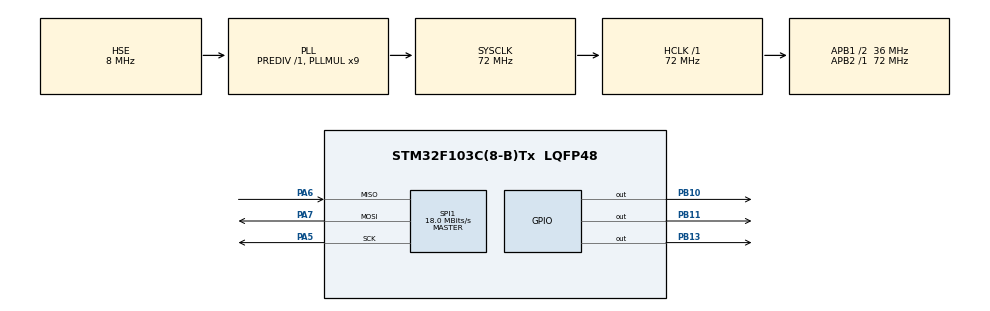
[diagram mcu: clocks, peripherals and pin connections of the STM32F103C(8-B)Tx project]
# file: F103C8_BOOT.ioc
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FATFS._CODE_PAGE=437
FATFS._FS_TINY=1
FATFS._MAX_SS=4096
FATFS._MIN_SS=512
FATFS._USE_FASTSEEK=0
FATFS._USE_FIND=1
FATFS._USE_LFN=2
FATFS._USE_MKFS=1
FATFS._USE_STRFUNC=0
Mcu.Family=STM32F1
Mcu.Name=STM32F103C(8-B)Tx
Mcu.Package=LQFP48
NVIC.PriorityGroup=NVIC_PRIORITYGROUP_4
PA13.Mode=Serial_Wire
PA13.Signal=SYS_JTMS-SWDIO
PA14.Mode=Serial_Wire
PA14.Signal=SYS_JTCK-SWCLK
PA5.Mode=Full_Duplex_Master
PA5.Signal=SPI1_SCK
PA6.Mode=Full_Duplex_Master
PA6.Signal=SPI1_MISO
PA7.Mode=Full_Duplex_Master
PA7.Signal=SPI1_MOSI
PB10.Signal=GPIO_Output
PB11.PinState=GPIO_PIN_SET
PB11.Signal=GPIO_Output
PB13.PinState=GPIO_PIN_SET
PB13.Signal=GPIO_Output
PD0-OSC_IN.Mode=HSE-External-Oscillator
PD0-OSC_IN.Signal=RCC_OSC_IN
PD1-OSC_OUT.Mode=HSE-External-Oscillator
PD1-OSC_OUT.Signal=RCC_OSC_OUT
ProjectManager.HeapSize=0x200
ProjectManager.StackSize=0x1000
ProjectManager.TargetToolchain=MDK-ARM V5
RCC.AHBFreq_Value=72000000
RCC.APB1CLKDivider=RCC_HCLK_DIV2
RCC.APB1Freq_Value=36000000
RCC.APB1TimFreq_Value=72000000
RCC.APB2Freq_Value=72000000
RCC.APB2TimFreq_Value=72000000
RCC.HCLKFreq_Value=72000000
RCC.PLLMUL=RCC_PLL_MUL9
RCC.PLLSourceVirtual=RCC_PLLSOURCE_HSE
RCC.SYSCLKFreq_VALUE=72000000
RCC.SYSCLKSource=RCC_SYSCLKSOURCE_PLLCLK
RCC.USBFreq_Value=72000000
SPI1.BaudRatePrescaler=SPI_BAUDRATEPRESCALER_4
SPI1.CalculateBaudRate=18.0 MBits/s
SPI1.Direction=SPI_DIRECTION_2LINES
SPI1.Mode=SPI_MODE_MASTER
SPI1.VirtualType=VM_MASTER
TIM4.Period=65535
TIM4.Prescaler=71
VP_FATFS_VS_Generic.Mode=User_defined
VP_TIM4_VS_ClockSourceINT.Mode=Internal
board=custom

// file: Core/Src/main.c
/**
  ******************************************************************************
  * @file           : main.c
  * @brief          : Main program body
  ******************************************************************************
  * This notice applies to any and all portions of this file
  * that are not between comment pairs USER CODE BEGIN and
  * USER CODE END. Other portions of this file, whether
  * inserted by the user or by software development tools
  * are owned by their respective copyright owners.
  *
  * Copyright (c) 2019 STMicroelectronics International N.V.
  * All rights reserved.
  *
  * Redistribution and use in source and binary forms, with or without
  * modification, are permitted, provided that the following conditions are met:
  *
  * 1. Redistribution of source code must retain the above copyright notice,
  *    this list of conditions and the following disclaimer.
  * 2. Redistributions in binary form must reproduce the above copyright notice,
  *    this list of conditions and the following disclaimer in the documentation
  *    and/or other materials provided with the distribution.
  * 3. Neither the name of STMicroelectronics nor the names of other
  *    contributors to this software may be used to endorse or promote products
  *    derived from this software without specific written permission.
  * 4. This software, including modifications and/or derivative works of this
  *    software, must execute solely and exclusively on microcontroller or
  *    microprocessor devices manufactured by or for STMicroelectronics.
  * 5. Redistribution and use of this software other than as permitted under
  *    this license is void and will automatically terminate your rights under
  *    this license.
  *
  * THIS SOFTWARE IS PROVIDED BY STMICROELECTRONICS AND CONTRIBUTORS "AS IS"
  * AND ANY EXPRESS, IMPLIED OR STATUTORY WARRANTIES, INCLUDING, BUT NOT
  * LIMITED TO, THE IMPLIED WARRANTIES OF MERCHANTABILITY, FITNESS FOR A
  * PARTICULAR PURPOSE AND NON-INFRINGEMENT OF THIRD PARTY INTELLECTUAL PROPERTY
  * RIGHTS ARE DISCLAIMED TO THE FULLEST EXTENT PERMITTED BY LAW. IN NO EVENT
  * SHALL STMICROELECTRONICS OR CONTRIBUTORS BE LIABLE FOR ANY DIRECT, INDIRECT,
  * INCIDENTAL, SPECIAL, EXEMPLARY, OR CONSEQUENTIAL DAMAGES (INCLUDING, BUT NOT
  * LIMITED TO, PROCUREMENT OF SUBSTITUTE GOODS OR SERVICES; LOSS OF USE, DATA,
  * OR PROFITS; OR BUSINESS INTERRUPTION) HOWEVER CAUSED AND ON ANY THEORY OF
  * LIABILITY, WHETHER IN CONTRACT, STRICT LIABILITY, OR TORT (INCLUDING
  * NEGLIGENCE OR OTHERWISE) ARISING IN ANY WAY OUT OF THE USE OF THIS SOFTWARE,
  * EVEN IF ADVISED OF THE POSSIBILITY OF SUCH DAMAGE.
  *
  ******************************************************************************
  */
#include "main.h"
#include "stm32f1xx_hal.h"
#include "fatfs.h"
#include "spi.h"
#include "tim.h"
#include "gpio.h"

/* USER CODE BEGIN Includes */
#include <stdio.h>
#include "bsp_norflash.h"
#include "rtd266x_main.h"
/* USER CODE END Includes */

/* USER CODE BEGIN PV */
/* Private variables ---------------------------------------------------------*/

/* USER CODE END PV */

void SystemClock_Config(void);

/* USER CODE BEGIN PFP */
/* Private function prototypes -----------------------------------------------*/

/* USER CODE END PFP */

/* USER CODE BEGIN 0 */
static void FPGA_Download(void);
static void RTD266X_Download(void);
static void JumpToApplication(void);
/* USER CODE END 0 */

int main(void)
{
  /* USER CODE BEGIN 1 */
  NORFLASH_OBJ *norflash = BSP_NORFLASH_OBJ();
  /* USER CODE END 1 */

  /* MCU Configuration----------------------------------------------------------*/

  /* Reset of all peripherals, Initializes the Flash interface and the Systick. */
  HAL_Init();

  /* Configure the system clock */
  SystemClock_Config();

  /* Initialize all configured peripherals */
  MX_GPIO_Init();
  MX_SPI1_Init();
  MX_FATFS_Init();
  MX_TIM4_Init();
  /* USER CODE BEGIN 2 */
  HAL_TIM_Base_Start(&htim4);
  __HAL_SPI_ENABLE(&hspi1);
  norflash->Init();
  retUSER = f_mount(&USERFatFS, USERPath, 1);
  if (retUSER != FR_OK)
      retUSER = f_mkfs(USERPath, 0, 4096);
  /* USER CODE END 2 */

  /* Infinite loop */
  /* USER CODE BEGIN WHILE */
  while (1)
  {
    FPGA_Download();
    RTD266X_Download();
  /* USER CODE END WHILE */

  /* USER CODE BEGIN 3 */
    JumpToApplication();
  }
  /* USER CODE END 3 */

}

void SystemClock_Config(void)
{

  RCC_OscInitTypeDef RCC_OscInitStruct;
  RCC_ClkInitTypeDef RCC_ClkInitStruct;

    /**Initializes the CPU, AHB and APB busses clocks
    */
  RCC_OscInitStruct.OscillatorType = RCC_OSCILLATORTYPE_HSE;
  RCC_OscInitStruct.HSEState = RCC_HSE_ON;
  RCC_OscInitStruct.HSEPredivValue = RCC_HSE_PREDIV_DIV1;
  RCC_OscInitStruct.HSIState = RCC_HSI_ON;
  RCC_OscInitStruct.PLL.PLLState = RCC_PLL_ON;
  RCC_OscInitStruct.PLL.PLLSource = RCC_PLLSOURCE_HSE;
  RCC_OscInitStruct.PLL.PLLMUL = RCC_PLL_MUL9;
  if (HAL_RCC_OscConfig(&RCC_OscInitStruct) != HAL_OK)
  {
    _Error_Handler(__FILE__, __LINE__);
  }

    /**Initializes the CPU, AHB and APB busses clocks
    */
  RCC_ClkInitStruct.ClockType = RCC_CLOCKTYPE_HCLK|RCC_CLOCKTYPE_SYSCLK
                              |RCC_CLOCKTYPE_PCLK1|RCC_CLOCKTYPE_PCLK2;
  RCC_ClkInitStruct.SYSCLKSource = RCC_SYSCLKSOURCE_PLLCLK;
  RCC_ClkInitStruct.AHBCLKDivider = RCC_SYSCLK_DIV1;
  RCC_ClkInitStruct.APB1CLKDivider = RCC_HCLK_DIV2;
  RCC_ClkInitStruct.APB2CLKDivider = RCC_HCLK_DIV1;

  if (HAL_RCC_ClockConfig(&RCC_ClkInitStruct, FLASH_LATENCY_2) != HAL_OK)
  {
    _Error_Handler(__FILE__, __LINE__);
  }

    /**Configure the Systick interrupt time
    */
  HAL_SYSTICK_Config(HAL_RCC_GetHCLKFreq()/1000);

    /**Configure the Systick
    */
  HAL_SYSTICK_CLKSourceConfig(SYSTICK_CLKSOURCE_HCLK);

  /* SysTick_IRQn interrupt configuration */
  HAL_NVIC_SetPriority(SysTick_IRQn, 0, 0);
}

/* USER CODE BEGIN 4 */
#define DONE_GPIO (GPIOA)
#define DONE_Pin  (GPIO_PIN_2)
#define DONE_High (DONE_GPIO->BSRR = DONE_Pin)
#define DONE_Low  (DONE_GPIO->BSRR = DONE_Pin << 16)
#define DONE_Read (DONE_GPIO->IDR  & DONE_Pin)

#define STA_GPIO  (GPIOA)
#define STA_Pin   (GPIO_PIN_3)
#define STA_High  (STA_GPIO->BSRR = STA_Pin)
#define STA_Low   (STA_GPIO->BSRR = STA_Pin << 16)
#define STA_Read  (STA_GPIO->IDR  & STA_Pin)

#define CFG_GPIO  (GPIOB)
#define CFG_Pin   (GPIO_PIN_1)
#define CFG_High  (CFG_GPIO->BSRR = CFG_Pin)
#define CFG_Low   (CFG_GPIO->BSRR = CFG_Pin << 16)

#define DCLK_GPIO (GPIOB)
#define DCLK_Pin  (GPIO_PIN_8)
#define DCLK_High (DCLK_GPIO->BSRR = DCLK_Pin)
#define DCLK_Low  (DCLK_GPIO->BSRR = DCLK_Pin << 16)

#define DATA_GPIO (GPIOB)
#define DATA_Pin  (GPIO_PIN_9)
#define DATA_High (DATA_GPIO->BSRR = DATA_Pin)
#define DATA_Low  (DATA_GPIO->BSRR = DATA_Pin << 16)

#define TIMEOUT_MS 5000

#define FPGA_FILE "fpga*.rbf"

#define LENS 0x400

static void FPGA_Download(void)
{
    unsigned int curticks = 0;
    char buf[LENS] = {0};
    int  filesize  = 0;
    int  fileptr   = 0;
    int  length    = 0;
    int  rcnt      = 0;
    DIR     dir    = {0};
    FILINFO finfo  = {0};
    TCHAR   lbuf[_MAX_LFN + 1] = {0};

    GPIO_InitTypeDef GPIO_InitStruct;

    GPIO_InitStruct.Mode  = GPIO_MODE_INPUT;
    GPIO_InitStruct.Pull  = GPIO_NOPULL;
    GPIO_InitStruct.Speed = GPIO_SPEED_FREQ_HIGH;

    GPIO_InitStruct.Pin   = DONE_Pin;
    HAL_GPIO_Init(DONE_GPIO, &GPIO_InitStruct);

    GPIO_InitStruct.Pin   = STA_Pin;
    HAL_GPIO_Init(STA_GPIO, &GPIO_InitStruct);

    GPIO_InitStruct.Mode  = GPIO_MODE_OUTPUT_PP;

    CFG_High;
    GPIO_InitStruct.Pin   = CFG_Pin;
    HAL_GPIO_Init(CFG_GPIO, &GPIO_InitStruct);

    DCLK_Low;
    GPIO_InitStruct.Pin   = DCLK_Pin;
    HAL_GPIO_Init(DCLK_GPIO, &GPIO_InitStruct);

    DATA_Low;
    GPIO_InitStruct.Pin   = DATA_Pin;
    HAL_GPIO_Init(DATA_GPIO, &GPIO_InitStruct);

    finfo.lfname = lbuf;
    finfo.lfsize = sizeof(lbuf);

    retUSER = f_findfirst(&dir, &finfo, "", FPGA_FILE);
    if (retUSER != FR_OK)
        return;

    retUSER = f_open(&USERFile, finfo.fname, FA_READ);
    if (retUSER != FR_OK)
        return;

    curticks = HAL_GetTick();
    while ((HAL_GetTick() - curticks) < TIMEOUT_MS)
    {
        if (STA_Read)
            break;
    }

    if (!STA_Read)
        goto RETURN;

    CFG_Low;
    usDelay(1);
    CFG_High;

    if (STA_Read)
        goto RETURN;

    usDelay(230);

    if (!STA_Read)
        goto RETURN;

    filesize = f_size(&USERFile);
    fileptr  = 0;

    while (fileptr < filesize)
    {
        if (filesize - fileptr > sizeof(buf))
            length = sizeof(buf);
        else
            length = filesize - fileptr;

        retUSER = f_read(&USERFile, buf, length, (UINT *)&rcnt);
        if ((retUSER != FR_OK)||(rcnt != length))
            goto RETURN;

        for (int i = 0; i < length; i++)
        {
            for (int j = 0; j < 8; j++)
            {
                if (buf[i] & 0x01)
                    DATA_High;
                else
                    DATA_Low;
                DCLK_High;DCLK_Low;
                buf[i] >>= 1;
            }
        }

        fileptr += length;
    }

    for (int i = 0; (i < 250)&&(!DONE_Read); i++)
    {
        DCLK_High;DCLK_Low;
    }

    DCLK_High;DCLK_Low;
    DCLK_High;DCLK_Low;

    RETURN:
    retUSER = f_close(&USERFile);
}

#define RTD266X_FILE "rtd266x*.bin"

static void RTD266X_Download(void)
{
    const FlashDesc *chip = NULL;
    uint32_t jedec_id = 0;
    DIR      dir      = {0};
    FILINFO  finfo    = {0};
    TCHAR    lbuf[_MAX_LFN + 1] = {0};

    rtd266x_init();

    finfo.lfname = lbuf;
    finfo.lfsize = sizeof(lbuf);

    retUSER = f_findfirst(&dir, &finfo, "", RTD266X_FILE);
    if (retUSER != FR_OK)
        return;

    retUSER = f_open(&USERFile, finfo.fname, FA_READ);
    if (retUSER != FR_OK)
        return;

    for(int i = 0; i < 4; i++)
    {
        WriteReg(0x6f, 0x80);
        if(!(ReadReg(0x6f) & 0x80))
            continue;
        jedec_id = SPICommonCommand(E_CC_READ, 0x9f, 3, 0, 0);
        chip = FindChip(jedec_id);
        break;
    }

    if (chip == NULL)
        goto RETURN;

    SetupChipCommands(chip->jedec_id);

    if (!ProgramFlash(&USERFile, chip->size_kb * 1024))
        goto RETURN;

    retUSER = f_close(&USERFile);

    retUSER = f_unlink(finfo.fname);

    return;

    RETURN:
    retUSER = f_close(&USERFile);
}

#define APP_OFST (0xB000)
#define APP_ADDR (FLASH_BASE + APP_OFST)

typedef void (*pJumpFunc)(void);

static void JumpToApplication(void)
{
    uint32_t StackTop = 0;

    StackTop = *(__IO uint32_t*)APP_ADDR;

    if ((StackTop >= 0x2000000)&&(StackTop <= 0x20004FFF))
    {
        pJumpFunc JumpApp = (pJumpFunc)(*(__IO uint32_t*)(APP_ADDR + 4));
        HAL_SPI_DeInit(&hspi1);
        HAL_TIM_Base_DeInit(&htim4);
        __disable_irq();
        __set_MSP(*(__IO uint32_t*)APP_ADDR);
        JumpApp();
    }
    else
        HAL_NVIC_SystemReset();
}
/* USER CODE END 4 */

void _Error_Handler(char *file, int line)
{
  while(1)
  {
  }
}

/************************ (C) COPYRIGHT STMicroelectronics *****END OF FILE****/
